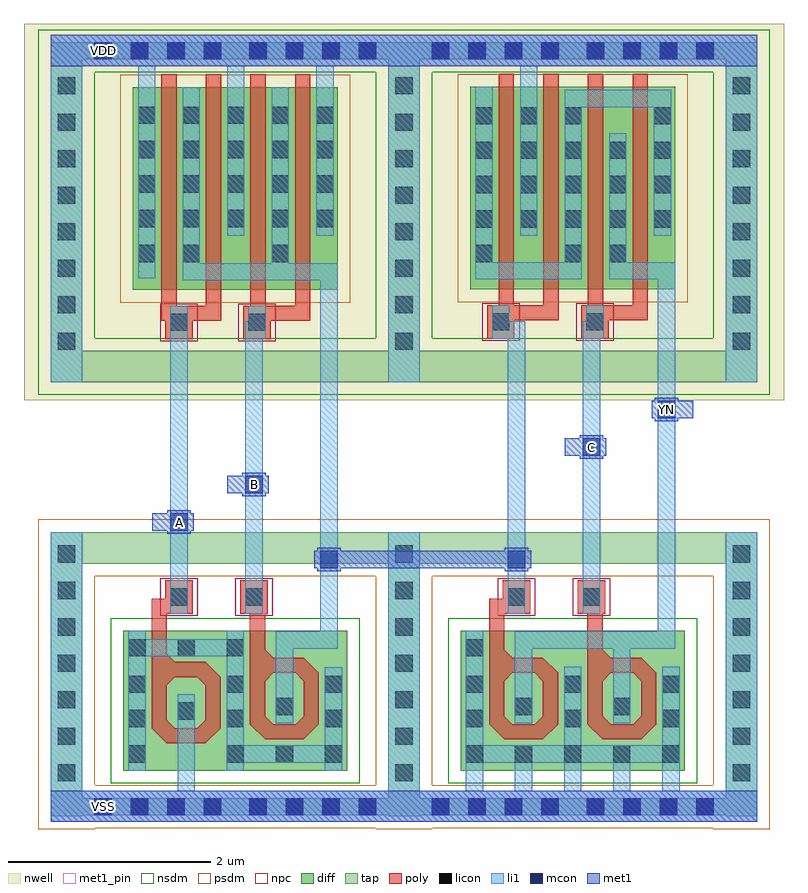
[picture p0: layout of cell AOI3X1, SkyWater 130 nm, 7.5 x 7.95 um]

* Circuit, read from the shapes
.subckt AOI3X1 A B C VDD VSS YN
XM1 n1 A VSS VSS sky130_fd_pr__nfet_01v8 w=2.6 l=0.149
XM2 n1 B n2 VSS sky130_fd_pr__nfet_01v8 w=2.56 l=0.1467
XM3 VSS n2 YN VSS sky130_fd_pr__nfet_01v8 w=2.56 l=0.1451
XM4 VSS C YN VSS sky130_fd_pr__nfet_01v8 w=2.56 l=0.1467
XM5 n2 A VDD VDD sky130_fd_pr__pfet_01v8 w=2 l=0.15 m=2
XM6 n2 B VDD VDD sky130_fd_pr__pfet_01v8 w=2 l=0.15 m=2
XM7 VDD n2 n3 VDD sky130_fd_pr__pfet_01v8 w=2 l=0.15 m=2
XM8 YN C n3 VDD sky130_fd_pr__pfet_01v8 w=2 l=0.15 m=2
.ends

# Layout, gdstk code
import gdstk
lib = gdstk.Library(unit=1e-6, precision=1e-09)
def R(c, l, rs):  # rectangles x0, y0, x1, y1
    for r in rs: c.add(gdstk.rectangle(r[:2], r[2:], *l))
def A(c, l, x, y, w, h, nx, ny, dx, dy):  # array of equal rectangles
    R(c, l, [(x+i*dx, y+j*dy, x+i*dx+w, y+j*dy+h) for i in range(nx) for j in range(ny)])
def P(c, l, *ps):  # polygons
    for p in ps: c.add(gdstk.Polygon(p, *l))
nwell = (64, 20)
diff = (65, 20)
tap = (65, 44)
poly = (66, 20)
licon = (66, 44)
li1 = (67, 20)
mcon = (67, 44)
met1_pin = (68, 16)
met1 = (68, 20)
nsdm = (93, 44)
psdm = (94, 20)
npc = (95, 20)

aoi3x1 = lib.new_cell('AOI3X1')
R(aoi3x1, nwell, [(-0.42,4.16,7.08,7.875)])
R(aoi3x1, diff, [(0.56,0.505,2.77,1.885), (3.89,0.505,6.1,1.885), (0.655,5.25,2.675,7.25), (3.985,5.255,6.005,7.255)])
A(aoi3x1, tap, -0.155, 0.055, 0.31, 0.01, 3, 1, 3.33, 0)
A(aoi3x1, tap, -0.155, 0.235, 0.31, 2.315, 3, 1, 3.33, 0)
A(aoi3x1, tap, -0.155, 4.65, 0.31, 2.875, 3, 1, 3.33, 0)
R(aoi3x1, tap, [(-0.155,0.065,6.815,0.235), (-0.155,2.55,6.815,2.86), (-0.155,4.34,6.815,4.65), (-0.155,7.525,6.815,7.695)])
A(aoi3x1, poly, 0.935, 5.095, 0.15, 2.285, 4, 1, 0.44, 0)
A(aoi3x1, poly, 4.265, 5.1, 0.15, 2.285, 4, 1, 0.44, 0)
R(aoi3x1, poly, [(0.99,0.775,1.37,0.925), (1.96,0.815,2.34,0.965), (4.32,0.815,4.7,0.965), (5.29,0.815,5.67,0.965), (0.84,0.925,0.99,1.43), (1.37,0.925,1.52,1.43), (1.81,0.965,1.96,1.47), (2.34,0.965,2.49,1.47), (4.17,0.965,4.32,1.47), (4.7,0.965,4.85,1.47), (5.14,0.965,5.29,1.395), (5.67,0.965,5.82,1.395), (5.14,1.395,5.295,1.47), (5.665,1.395,5.82,1.47), (0.84,1.43,1.37,1.58), (1.81,1.47,2.34,1.62), (4.17,1.47,4.7,1.62), (5.14,1.47,5.67,1.62), (0.84,1.58,0.99,2.055), (1.81,1.62,1.96,2.055), (4.17,1.62,4.32,2.055), (5.14,1.62,5.29,2.055), (0.84,2.055,1.245,2.205), (1.715,2.055,1.985,2.385), (4.17,2.055,4.575,2.205), (5.045,2.055,5.315,2.385), (0.975,2.205,1.245,2.385), (4.305,2.205,4.575,2.385), (0.975,4.765,1.245,4.945), (1.745,4.765,2.015,4.945), (4.15,4.77,4.42,4.95), (5.08,4.77,5.35,4.95), (0.935,4.945,1.525,5.095), (1.745,4.945,2.405,5.095), (4.15,4.95,4.855,5.1), (5.08,4.95,5.735,5.1)])
P(aoi3x1, poly, [(0.99,1.66),(0.99,1.58),(1.07,1.58)],
  [(1.96,1.7),(1.96,1.62),(2.04,1.62)],
  [(4.32,1.7),(4.32,1.62),(4.4,1.62)],
  [(5.29,1.7),(5.29,1.62),(5.37,1.62)],
  [(1.37,1.58),(1.37,1.43),(1.52,1.43)],
  [(0.99,1.35),(0.99,1.43),(1.07,1.43)],
  [(1.29,1.43),(1.37,1.43),(1.37,1.35)],
  [(0.99,1.005),(0.99,0.925),(1.07,0.925)],
  [(1.29,0.925),(1.37,0.925),(1.37,1.005)],
  [(0.84,0.925),(0.99,0.925),(0.99,0.775)],
  [(1.37,0.775),(1.37,0.925),(1.52,0.925)],
  [(2.34,1.62),(2.34,1.47),(2.49,1.47)],
  [(1.96,1.39),(1.96,1.47),(2.04,1.47)],
  [(2.26,1.47),(2.34,1.47),(2.34,1.39)],
  [(1.96,1.045),(1.96,0.965),(2.04,0.965)],
  [(2.26,0.965),(2.34,0.965),(2.34,1.045)],
  [(1.81,0.965),(1.96,0.965),(1.96,0.815)],
  [(2.34,0.815),(2.34,0.965),(2.49,0.965)],
  [(4.7,1.62),(4.7,1.47),(4.85,1.47)],
  [(4.32,1.39),(4.32,1.47),(4.4,1.47)],
  [(4.62,1.47),(4.7,1.47),(4.7,1.39)],
  [(4.32,1.045),(4.32,0.965),(4.4,0.965)],
  [(4.62,0.965),(4.7,0.965),(4.7,1.045)],
  [(4.17,0.965),(4.32,0.965),(4.32,0.815)],
  [(4.7,0.815),(4.7,0.965),(4.85,0.965)],
  [(5.67,1.62),(5.67,1.47),(5.82,1.47)],
  [(5.295,1.395),(5.295,1.47),(5.37,1.47)],
  [(5.59,1.47),(5.665,1.47),(5.665,1.395)],
  [(5.29,1.045),(5.29,0.965),(5.37,0.965)],
  [(5.59,0.965),(5.67,0.965),(5.67,1.045)],
  [(5.14,0.965),(5.29,0.965),(5.29,0.815)],
  [(5.67,0.815),(5.67,0.965),(5.82,0.965)])
A(aoi3x1, licon, 0.275, 0.065, 0.17, 0.17, 4, 2, 0.36, 7.46)
A(aoi3x1, licon, 1.805, 0.065, 0.17, 0.17, 4, 2, 0.36, 7.46)
A(aoi3x1, licon, 3.605, 0.065, 0.17, 0.17, 4, 2, 0.36, 7.46)
A(aoi3x1, licon, 5.135, 0.065, 0.17, 0.17, 4, 2, 0.36, 7.46)
A(aoi3x1, licon, -0.085, 0.4, 0.17, 0.17, 3, 7, 3.33, 0.36)
A(aoi3x1, licon, 1.58, 0.585, 0.17, 0.17, 3, 1, 0.485, 0)
A(aoi3x1, licon, 3.94, 0.585, 0.17, 0.17, 5, 1, 0.485, 0)
A(aoi3x1, licon, 0.61, 0.935, 0.17, 0.17, 3, 2, 0.97, 0.34)
A(aoi3x1, licon, 3.94, 0.935, 0.17, 0.17, 3, 2, 0.97, 0.34)
A(aoi3x1, licon, 0.61, 1.635, 0.17, 0.17, 3, 1, 0.485, 0)
A(aoi3x1, licon, -0.085, 4.66, 0.17, 0.17, 3, 8, 3.33, 0.36)
A(aoi3x1, licon, 4.035, 5.865, 0.17, 0.17, 5, 3, 0.44, 0.34)
A(aoi3x1, licon, 0.705, 5.87, 0.17, 0.17, 5, 4, 0.44, 0.34)
A(aoi3x1, licon, 4.035, 6.885, 0.17, 0.17, 3, 1, 0.44, 0)
R(aoi3x1, licon, [(0.61,0.585,0.78,0.755), (1.095,1.01,1.265,1.18), (2.065,1.055,2.235,1.225), (4.425,1.055,4.595,1.225), (5.395,1.055,5.565,1.225), (3.94,1.635,4.11,1.805), (1.025,2.135,1.195,2.305), (1.765,2.135,1.935,2.305), (4.355,2.135,4.525,2.305), (5.095,2.135,5.265,2.305), (1.025,4.845,1.195,5.015), (1.795,4.845,1.965,5.015), (4.2,4.85,4.37,5.02), (5.13,4.85,5.3,5.02), (0.705,5.525,0.875,5.695), (1.145,5.525,1.315,5.695), (2.025,5.525,2.195,5.695), (4.035,5.525,4.205,5.695), (4.915,5.525,5.085,5.695), (5.355,5.525,5.525,5.695), (5.795,6.885,5.965,7.055)])
A(aoi3x1, li1, -0.155, 0.31, 0.31, 2.55, 3, 1, 3.33, 0)
A(aoi3x1, li1, 3.94, 0.31, 0.17, 0.275, 5, 1, 0.485, 0)
A(aoi3x1, li1, -0.155, 4.34, 0.31, 3.12, 3, 1, 3.33, 0)
R(aoi3x1, li1, [(-0.155,0,6.815,0.31), (1.095,0.31,1.265,1.26), (0.61,0.505,0.78,1.635), (1.58,0.505,1.75,0.585), (2.55,0.505,2.72,0.585), (1.58,0.585,2.72,0.755), (3.94,0.585,6.05,0.755), (1.58,0.755,1.75,1.635), (2.55,0.755,2.72,1.525), (3.94,0.755,4.11,1.885), (4.91,0.755,5.08,1.53), (5.88,0.755,6.05,1.53), (2.065,0.975,2.235,1.71), (4.425,0.975,4.595,1.71), (5.395,0.975,5.565,1.71), (0.61,1.635,1.75,1.805), (2.065,1.71,2.675,1.88), (4.425,1.71,6.005,1.88), (0.61,1.805,0.78,1.885), (1.58,1.805,1.75,1.885), (2.505,1.88,2.675,5.345), (5.835,1.88,6.005,5.355), (1.025,2.055,1.195,5.095), (1.765,2.055,1.935,4.765), (4.355,2.055,4.525,4.77), (5.095,2.055,5.265,4.77), (1.765,4.765,1.965,4.94), (4.2,4.77,4.525,4.94), (5.095,4.77,5.3,4.94), (1.795,4.94,1.965,5.095), (4.2,4.94,4.37,5.1), (5.13,4.94,5.3,5.1), (1.145,5.345,2.675,5.515), (4.035,5.355,5.085,5.525), (5.355,5.355,6.005,5.525), (0.705,5.365,0.875,7.46), (1.145,5.515,1.315,7.25), (2.025,5.515,2.195,7.25), (4.035,5.525,4.205,7.255), (4.915,5.525,5.085,7.055), (5.355,5.525,5.525,6.795), (1.585,5.785,1.755,7.46), (2.465,5.785,2.635,7.46), (4.475,5.785,4.645,7.46), (5.795,5.785,5.965,7.055), (4.915,7.055,5.965,7.225), (-0.155,7.46,6.815,7.77)])
A(aoi3x1, mcon, 0.275, 0.065, 0.17, 0.17, 4, 2, 0.36, 7.46)
A(aoi3x1, mcon, 1.805, 0.065, 0.17, 0.17, 4, 2, 0.36, 7.46)
A(aoi3x1, mcon, 3.605, 0.065, 0.17, 0.17, 4, 2, 0.36, 7.46)
A(aoi3x1, mcon, 5.135, 0.065, 0.17, 0.17, 4, 2, 0.36, 7.46)
R(aoi3x1, mcon, [(2.505,2.505,2.675,2.675), (4.355,2.505,4.525,2.675), (1.025,2.875,1.195,3.045), (1.765,3.245,1.935,3.415), (5.095,3.615,5.265,3.785), (5.835,3.985,6.005,4.155)])
R(aoi3x1, met1_pin, [(0.275,0.065,0.445,0.235), (1.025,2.875,1.195,3.045), (1.765,3.245,1.935,3.415), (5.095,3.615,5.265,3.785), (5.835,3.985,6.005,4.155), (0.275,7.525,0.445,7.695)])
R(aoi3x1, met1, [(-0.155,0,6.815,0.31), (2.475,2.475,2.705,2.505), (4.325,2.475,4.555,2.505), (2.445,2.505,4.585,2.675), (2.475,2.675,2.705,2.705), (4.325,2.675,4.555,2.705), (0.995,2.845,1.225,2.875), (0.845,2.875,1.255,3.045), (0.995,3.045,1.225,3.075), (1.735,3.215,1.965,3.245), (1.585,3.245,1.995,3.415), (1.735,3.415,1.965,3.445), (5.065,3.585,5.295,3.615), (4.915,3.615,5.325,3.785), (5.065,3.785,5.295,3.815), (5.805,3.955,6.035,3.985), (5.775,3.985,6.185,4.155), (5.805,4.155,6.035,4.185), (-0.155,7.46,6.815,7.77)])
A(aoi3x1, nsdm, -0.28, 4.775, 0.56, 2.625, 3, 1, 3.33, 0)
R(aoi3x1, nsdm, [(0.435,0.38,2.895,2.01), (3.765,0.38,6.225,2.01), (-0.28,4.215,6.94,4.775), (-0.28,7.4,6.94,7.82)])
A(aoi3x1, psdm, -0.28, -0.07, 0.56, 0.01, 3, 1, 3.33, 0)
A(aoi3x1, psdm, -0.28, 0.36, 0.56, 2.065, 3, 1, 3.33, 0)
R(aoi3x1, psdm, [(-0.28,-0.06,6.94,0.36), (-0.28,2.425,6.94,2.985), (0.53,5.125,2.8,7.375), (3.86,5.13,6.13,7.38)])
R(aoi3x1, npc, [(0.925,2.035,1.295,2.405), (1.665,2.035,2.035,2.405), (4.255,2.035,4.625,2.405), (4.995,2.035,5.365,2.405), (0.925,4.745,1.295,5.115), (1.695,4.745,2.065,5.115), (4.1,4.75,4.47,5.12), (5.03,4.75,5.4,5.12)])
aoi3x1.add(gdstk.Label('YN', (5.92,4.07), layer=68, texttype=16))
aoi3x1.add(gdstk.Label('A', (1.11,2.96), layer=68, texttype=16))
aoi3x1.add(gdstk.Label('B', (1.85,3.33), layer=68, texttype=16))
aoi3x1.add(gdstk.Label('C', (5.18,3.7), layer=68, texttype=16))
aoi3x1.add(gdstk.Label('VDD', (0.36,7.61), layer=68, texttype=16))
aoi3x1.add(gdstk.Label('VSS', (0.36,0.15), layer=68, texttype=16))

lib.write_gds('AOI3X1.gds')
